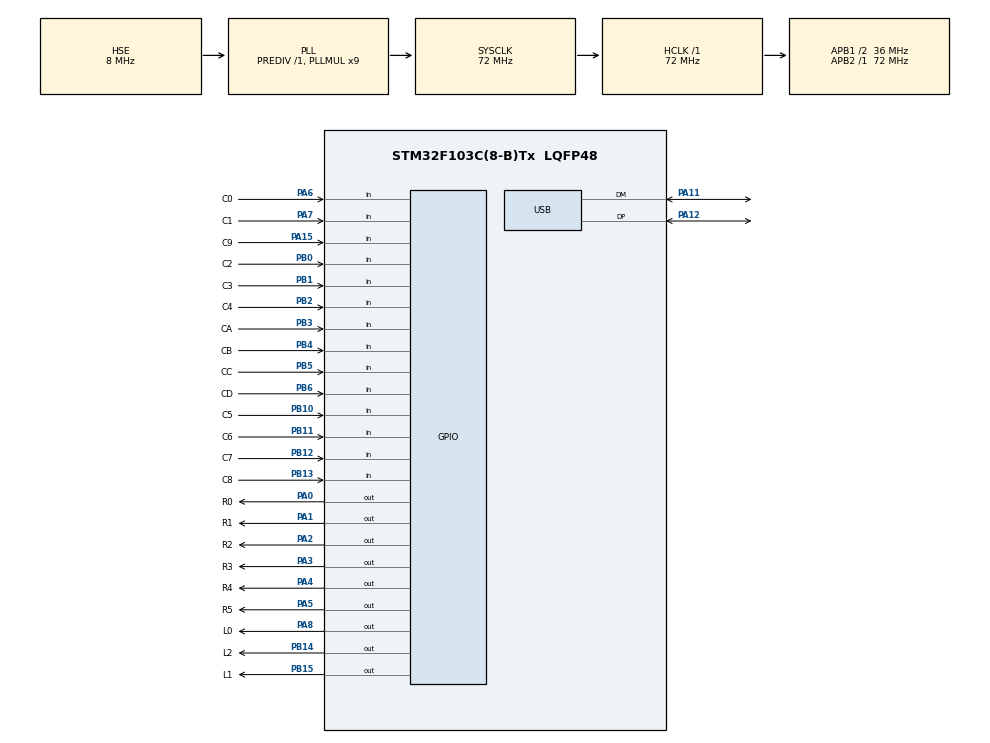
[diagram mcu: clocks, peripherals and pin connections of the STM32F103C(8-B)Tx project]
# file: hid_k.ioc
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Mcu.Family=STM32F1
Mcu.Name=STM32F103C(8-B)Tx
Mcu.Package=LQFP48
NVIC.PriorityGroup=NVIC_PRIORITYGROUP_4
NVIC.USB_LP_CAN1_RX0_IRQn=true\:0\:0\:false\:false\:true\:false\:true\:true
PA0-WKUP.GPIO_Label=R0
PA0-WKUP.Signal=GPIO_Output
PA1.GPIO_Label=R1
PA1.Signal=GPIO_Output
PA11.Mode=Device
PA11.Signal=USB_DM
PA12.Mode=Device
PA12.Signal=USB_DP
PA13.Mode=Serial_Wire
PA13.Signal=SYS_JTMS-SWDIO
PA14.Mode=Serial_Wire
PA14.Signal=SYS_JTCK-SWCLK
PA15.GPIO_Label=C9
PA15.GPIO_PuPd=GPIO_PULLDOWN
PA15.Signal=GPIO_Input
PA2.GPIO_Label=R2
PA2.Signal=GPIO_Output
PA3.GPIO_Label=R3
PA3.Signal=GPIO_Output
PA4.GPIO_Label=R4
PA4.Signal=GPIO_Output
PA5.GPIO_Label=R5
PA5.Signal=GPIO_Output
PA6.GPIO_Label=C0
PA6.GPIO_PuPd=GPIO_PULLDOWN
PA6.Signal=GPIO_Input
PA7.GPIO_Label=C1
PA7.GPIO_PuPd=GPIO_PULLDOWN
PA7.Signal=GPIO_Input
PA8.GPIO_Label=L0
PA8.Signal=GPIO_Output
PB0.GPIO_Label=C2
PB0.GPIO_PuPd=GPIO_PULLDOWN
PB0.Signal=GPIO_Input
PB1.GPIO_Label=C3
PB1.GPIO_PuPd=GPIO_PULLDOWN
PB1.Signal=GPIO_Input
PB10.GPIO_Label=C5
PB10.GPIO_PuPd=GPIO_PULLDOWN
PB10.Signal=GPIO_Input
PB11.GPIO_Label=C6
PB11.GPIO_PuPd=GPIO_PULLDOWN
PB11.Signal=GPIO_Input
PB12.GPIO_Label=C7
PB12.GPIO_PuPd=GPIO_PULLDOWN
PB12.Signal=GPIO_Input
PB13.GPIO_Label=C8
PB13.GPIO_PuPd=GPIO_PULLDOWN
PB13.Signal=GPIO_Input
PB14.GPIO_Label=L2
PB14.Signal=GPIO_Output
PB15.GPIO_Label=L1
PB15.Signal=GPIO_Output
PB2.GPIO_Label=C4
PB2.GPIO_PuPd=GPIO_PULLDOWN
PB2.Signal=GPIO_Input
PB3.GPIO_Label=CA
PB3.GPIO_PuPd=GPIO_PULLDOWN
PB3.Signal=GPIO_Input
PB4.GPIO_Label=CB
PB4.GPIO_PuPd=GPIO_PULLDOWN
PB4.Signal=GPIO_Input
PB5.GPIO_Label=CC
PB5.GPIO_PuPd=GPIO_PULLDOWN
PB5.Signal=GPIO_Input
PB6.GPIO_Label=CD
PB6.GPIO_PuPd=GPIO_PULLDOWN
PB6.Signal=GPIO_Input
PD0-OSC_IN.Mode=HSE-External-Oscillator
PD0-OSC_IN.Signal=RCC_OSC_IN
PD1-OSC_OUT.Mode=HSE-External-Oscillator
PD1-OSC_OUT.Signal=RCC_OSC_OUT
ProjectManager.HeapSize=0x200
ProjectManager.StackSize=0x400
ProjectManager.TargetToolchain=CMake
RCC.AHBFreq_Value=72000000
RCC.APB1CLKDivider=RCC_HCLK_DIV2
RCC.APB1Freq_Value=36000000
RCC.APB1TimFreq_Value=72000000
RCC.APB2Freq_Value=72000000
RCC.APB2TimFreq_Value=72000000
RCC.HCLKFreq_Value=72000000
RCC.PLLMUL=RCC_PLL_MUL9
RCC.SYSCLKFreq_VALUE=72000000
RCC.SYSCLKSource=RCC_SYSCLKSOURCE_PLLCLK
RCC.USBFreq_Value=48000000
RCC.USBPrescaler=RCC_USBCLKSOURCE_PLL_DIV1_5
USB_DEVICE.CLASS_NAME_FS=HID
USB_DEVICE.MANUFACTURER_STRING=ThinkCodeStudio
USB_DEVICE.PRODUCT_STRING_HID_FS=STM32 Mini Keyboard
USB_DEVICE.VirtualMode=Hid
USB_DEVICE.VirtualModeFS=Hid_FS
VP_USB_DEVICE_VS_USB_DEVICE_HID_FS.Mode=HID_FS
board=custom

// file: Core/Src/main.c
/* USER CODE BEGIN Header */
/**
  ******************************************************************************
  * @file           : main.c
  * @brief          : Main program body
  ******************************************************************************
  * @attention
  *
  * Copyright (c) 2025 STMicroelectronics.
  * All rights reserved.
  *
  * This software is licensed under terms that can be found in the LICENSE file
  * in the root directory of this software component.
  * If no LICENSE file comes with this software, it is provided AS-IS.
  *
  ******************************************************************************
  */
/* USER CODE END Header */
#include "main.h"
#include "usb_device.h"

/* USER CODE BEGIN Includes */
#include <usbd_hid.h>
#include "usb_device.h"
#include "keyboard_define.h"
/* USER CODE END Includes */

/* USER CODE BEGIN PV */
#define KEYBOARD_ROW 6
#define KEYBOARD_COLUMN 14
const int key_reg_max = 6;
const int delay = 4;
/* USER CODE END PV */

void SystemClock_Config(void);
static void MX_GPIO_Init(void);
/* USER CODE BEGIN PFP */
struct gpio {
    GPIO_TypeDef *port;
    uint16_t pin;
};

struct keyboard_msg_mag {
    struct keyboard_msg msg;
    uint8_t key_down_count;
};
/* USER CODE END PFP */

/* USER CODE BEGIN 0 */
struct keyboard_key keys_obj[KEYBOARD_ROW][KEYBOARD_COLUMN] = {
    {
        KEY_INIT(KEY_ESC),
        KEY_INIT(KEY_1),
        KEY_INIT(KEY_2),
        KEY_INIT(KEY_3),
        KEY_INIT(KEY_4),
        KEY_INIT(KEY_5),
        KEY_INIT(KEY_6),
        KEY_INIT(KEY_7),
        KEY_INIT(KEY_8),
        KEY_INIT(KEY_9),
        KEY_INIT(KEY_0),
        KEY_INIT(KEY_S_SUB),
        KEY_INIT(KEY_S_EQU),
        KEY_INIT(KEY_DELETE),
    },
    {
        KEY_INIT(KEY_TAB),
        KEY_INIT(KEY_Q),
        KEY_INIT(KEY_W),
        KEY_INIT(KEY_E),
        KEY_INIT(KEY_R),
        KEY_INIT(KEY_T),
        KEY_INIT(KEY_Y),
        KEY_INIT(KEY_U),
        KEY_INIT(KEY_I),
        KEY_INIT(KEY_O),
        KEY_INIT(KEY_P),
        KEY_INIT(KEY_S_L_SQU),
        KEY_INIT(KEY_S_R_SQU),
        KEY_INIT(KEY_DELETE_F),
    },
    {
        KEY_INIT(KEY_S_TIL),
        KEY_INIT(KEY_A),
        KEY_INIT(KEY_S),
        KEY_INIT(KEY_D),
        KEY_INIT(KEY_F),
        KEY_INIT(KEY_G),
        KEY_INIT(KEY_H),
        KEY_INIT(KEY_J),
        KEY_INIT(KEY_K),
        KEY_INIT(KEY_L),
        KEY_INIT(KEY_S_SEM),
        KEY_INIT(KEY_S_QUO),
        KEY_INIT(KEY_S_R_SLA),
        KEY_INIT(KEY_ENTER),
    },
    {
        KEY_INIT(KEY_CAPS),
        KEY_INIT(KEY_Z),
        KEY_INIT(KEY_X),
        KEY_INIT(KEY_C),
        KEY_INIT(KEY_V),
        KEY_INIT(KEY_B),
        KEY_INIT(KEY_N),
        KEY_INIT(KEY_M),
        KEY_INIT(KEY_S_COM),
        KEY_INIT(KEY_S_FUL),
        KEY_INIT(KEY_S_L_SLA),
        KEY_INIT(KEY_PAGE_UP),
        KEY_INIT(KEY_UP),
        KEY_INIT(KEY_PAGE_DOWN),
    },
    {
        KEY_INIT(KEY_FN),
        KEY_INIT(KEY_L_WIN),
        KEY_INIT(KEY_L_ALT),
        KEY_INIT(KEY_L_CTRL),
        KEY_INIT(KEY_L_SHIFT),
        KEY_INIT(KEY_HOME),
        KEY_INIT(KEY_SPACE),
        KEY_INIT(KEY_E),
        KEY_INIT(KEY_END),
        KEY_INIT(KEY_R_SHIFT),
        KEY_INIT(KEY_R_CTRL),
        KEY_INIT(KEY_LEFT),
        KEY_INIT(KEY_DOWN),
        KEY_INIT(KEY_RIGHT),
    },
    {
        KEY_INIT(KEY_E),
        KEY_INIT(KEY_F1),
        KEY_INIT(KEY_F2),
        KEY_INIT(KEY_F3),
        KEY_INIT(KEY_F4),
        KEY_INIT(KEY_F5),
        KEY_INIT(KEY_F6),
        KEY_INIT(KEY_F7),
        KEY_INIT(KEY_F8),
        KEY_INIT(KEY_F9),
        KEY_INIT(KEY_F10),
        KEY_INIT(KEY_F11),
        KEY_INIT(KEY_F12),
        KEY_INIT(KEY_E),
    },

};

struct gpio keyboard_row[KEYBOARD_ROW] = {
    {R0_GPIO_Port, R0_Pin},
    {R1_GPIO_Port, R1_Pin},
    {R2_GPIO_Port, R2_Pin},
    {R3_GPIO_Port, R3_Pin},
    {R4_GPIO_Port, R4_Pin},
    {R5_GPIO_Port, R5_Pin},
};

struct gpio keyboard_column[KEYBOARD_COLUMN] = {
    {C0_GPIO_Port, C0_Pin},
    {C1_GPIO_Port, C1_Pin},
    {C2_GPIO_Port, C2_Pin},
    {C3_GPIO_Port, C3_Pin},
    {C4_GPIO_Port, C4_Pin},
    {C5_GPIO_Port, C5_Pin},
    {C6_GPIO_Port, C6_Pin},
    {C7_GPIO_Port, C7_Pin},
    {C8_GPIO_Port, C8_Pin},
    {C9_GPIO_Port, C9_Pin},
    {CA_GPIO_Port, CA_Pin},
    {CB_GPIO_Port, CB_Pin},
    {CC_GPIO_Port, CC_Pin},
    {CD_GPIO_Port, CD_Pin},
};

struct keyboard_msg_mag mag;

void Key_Begin() {
    memset(&mag, 0, sizeof(mag));
}

void Key_End() {
    USBD_HID_SendReport(&hUsbDeviceFS, (uint8_t *) &mag.msg, sizeof(mag.msg));
}

void Key_Handler(const int row, const int column, const int state) {
    struct keyboard_key *obj = &keys_obj[row][column];
    if (state == 0) {
        obj->delay = 0;
        obj->state = 0;
    } else if (obj->delay >= delay) {
        obj->state = 1;
        switch (obj->code) {
            case KEY_L_CTRL:
                mag.msg.ctrl.L_CTRL = 1;
                break;
            case KEY_L_SHIFT:
                mag.msg.ctrl.L_SHIFT = 1;
                break;
            case KEY_L_ALT:
                mag.msg.ctrl.L_ALT = 1;
                break;
            case KEY_L_WIN:
                mag.msg.ctrl.L_WIN = 1;
                break;
            case KEY_R_CTRL:
                mag.msg.ctrl.R_CTRL = 1;
                break;
            case KEY_R_SHIFT:
                mag.msg.ctrl.R_SHIFT = 1;
                break;
            case KEY_R_ALT:
                mag.msg.ctrl.R_ALT = 1;
                break;
            case KEY_R_WIN:
                mag.msg.ctrl.R_WIN = 1;
                break;
            default:
                if (mag.key_down_count < key_reg_max) {
                    mag.msg.key[mag.key_down_count] = obj->code;
                    mag.key_down_count++;
                }
                break;
        }
    } else {
        obj->delay++;
    }
}

/* USER CODE END 0 */

int main(void)
{

  /* MCU Configuration--------------------------------------------------------*/

  /* Reset of all peripherals, Initializes the Flash interface and the Systick. */
  HAL_Init();

  /* Configure the system clock */
  SystemClock_Config();

  /* Initialize all configured peripherals */
  MX_GPIO_Init();
  MX_USB_DEVICE_Init();

  /* Infinite loop */
  /* USER CODE BEGIN WHILE */
    for (;;) {
        Key_Begin();
        for (uint8_t row = 0; row < KEYBOARD_ROW; row++) {
            const struct gpio *k_row = &keyboard_row[row];
            HAL_GPIO_WritePin(k_row->port, k_row->pin, GPIO_PIN_SET);
            for (uint8_t column = 0; column < KEYBOARD_COLUMN; column++) {
                const struct gpio *k_column = &keyboard_column[column];
                Key_Handler(row, column, HAL_GPIO_ReadPin(k_column->port, k_column->pin));
            }
            HAL_GPIO_WritePin(k_row->port, k_row->pin, GPIO_PIN_RESET);
        }
        Key_End();
    /* USER CODE END WHILE */

    /* USER CODE BEGIN 3 */
        HAL_Delay(1);
    }
  /* USER CODE END 3 */
}

void SystemClock_Config(void)
{
  RCC_OscInitTypeDef RCC_OscInitStruct = {0};
  RCC_ClkInitTypeDef RCC_ClkInitStruct = {0};
  RCC_PeriphCLKInitTypeDef PeriphClkInit = {0};

  /** Initializes the RCC Oscillators according to the specified parameters
  * in the RCC_OscInitTypeDef structure.
  */
  RCC_OscInitStruct.OscillatorType = RCC_OSCILLATORTYPE_HSE;
  RCC_OscInitStruct.HSEState = RCC_HSE_ON;
  RCC_OscInitStruct.HSEPredivValue = RCC_HSE_PREDIV_DIV1;
  RCC_OscInitStruct.HSIState = RCC_HSI_ON;
  RCC_OscInitStruct.PLL.PLLState = RCC_PLL_ON;
  RCC_OscInitStruct.PLL.PLLSource = RCC_PLLSOURCE_HSE;
  RCC_OscInitStruct.PLL.PLLMUL = RCC_PLL_MUL9;
  if (HAL_RCC_OscConfig(&RCC_OscInitStruct) != HAL_OK)
  {
    Error_Handler();
  }

  /** Initializes the CPU, AHB and APB buses clocks
  */
  RCC_ClkInitStruct.ClockType = RCC_CLOCKTYPE_HCLK|RCC_CLOCKTYPE_SYSCLK
                              |RCC_CLOCKTYPE_PCLK1|RCC_CLOCKTYPE_PCLK2;
  RCC_ClkInitStruct.SYSCLKSource = RCC_SYSCLKSOURCE_PLLCLK;
  RCC_ClkInitStruct.AHBCLKDivider = RCC_SYSCLK_DIV1;
  RCC_ClkInitStruct.APB1CLKDivider = RCC_HCLK_DIV2;
  RCC_ClkInitStruct.APB2CLKDivider = RCC_HCLK_DIV1;

  if (HAL_RCC_ClockConfig(&RCC_ClkInitStruct, FLASH_LATENCY_2) != HAL_OK)
  {
    Error_Handler();
  }
  PeriphClkInit.PeriphClockSelection = RCC_PERIPHCLK_USB;
  PeriphClkInit.UsbClockSelection = RCC_USBCLKSOURCE_PLL_DIV1_5;
  if (HAL_RCCEx_PeriphCLKConfig(&PeriphClkInit) != HAL_OK)
  {
    Error_Handler();
  }
}

static void MX_GPIO_Init(void)
{
  GPIO_InitTypeDef GPIO_InitStruct = {0};

  /* GPIO Ports Clock Enable */
  __HAL_RCC_GPIOD_CLK_ENABLE();
  __HAL_RCC_GPIOA_CLK_ENABLE();
  __HAL_RCC_GPIOB_CLK_ENABLE();

  /*Configure GPIO pin Output Level */
  HAL_GPIO_WritePin(GPIOA, R0_Pin|R1_Pin|R2_Pin|R3_Pin
                          |R4_Pin|R5_Pin|L0_Pin, GPIO_PIN_RESET);

  /*Configure GPIO pin Output Level */
  HAL_GPIO_WritePin(GPIOB, L2_Pin|L1_Pin, GPIO_PIN_RESET);

  /*Configure GPIO pins : R0_Pin R1_Pin R2_Pin R3_Pin
                           R4_Pin R5_Pin L0_Pin */
  GPIO_InitStruct.Pin = R0_Pin|R1_Pin|R2_Pin|R3_Pin
                          |R4_Pin|R5_Pin|L0_Pin;
  GPIO_InitStruct.Mode = GPIO_MODE_OUTPUT_PP;
  GPIO_InitStruct.Pull = GPIO_NOPULL;
  GPIO_InitStruct.Speed = GPIO_SPEED_FREQ_LOW;
  HAL_GPIO_Init(GPIOA, &GPIO_InitStruct);

  /*Configure GPIO pins : C0_Pin C1_Pin C9_Pin */
  GPIO_InitStruct.Pin = C0_Pin|C1_Pin|C9_Pin;
  GPIO_InitStruct.Mode = GPIO_MODE_INPUT;
  GPIO_InitStruct.Pull = GPIO_PULLDOWN;
  HAL_GPIO_Init(GPIOA, &GPIO_InitStruct);

  /*Configure GPIO pins : C2_Pin C3_Pin C4_Pin C5_Pin
                           C6_Pin C7_Pin C8_Pin CA_Pin
                           CB_Pin CC_Pin CD_Pin */
  GPIO_InitStruct.Pin = C2_Pin|C3_Pin|C4_Pin|C5_Pin
                          |C6_Pin|C7_Pin|C8_Pin|CA_Pin
                          |CB_Pin|CC_Pin|CD_Pin;
  GPIO_InitStruct.Mode = GPIO_MODE_INPUT;
  GPIO_InitStruct.Pull = GPIO_PULLDOWN;
  HAL_GPIO_Init(GPIOB, &GPIO_InitStruct);

  /*Configure GPIO pins : L2_Pin L1_Pin */
  GPIO_InitStruct.Pin = L2_Pin|L1_Pin;
  GPIO_InitStruct.Mode = GPIO_MODE_OUTPUT_PP;
  GPIO_InitStruct.Pull = GPIO_NOPULL;
  GPIO_InitStruct.Speed = GPIO_SPEED_FREQ_LOW;
  HAL_GPIO_Init(GPIOB, &GPIO_InitStruct);

}

void Error_Handler(void)
{
    __disable_irq();
    while (1) {
    }
}
